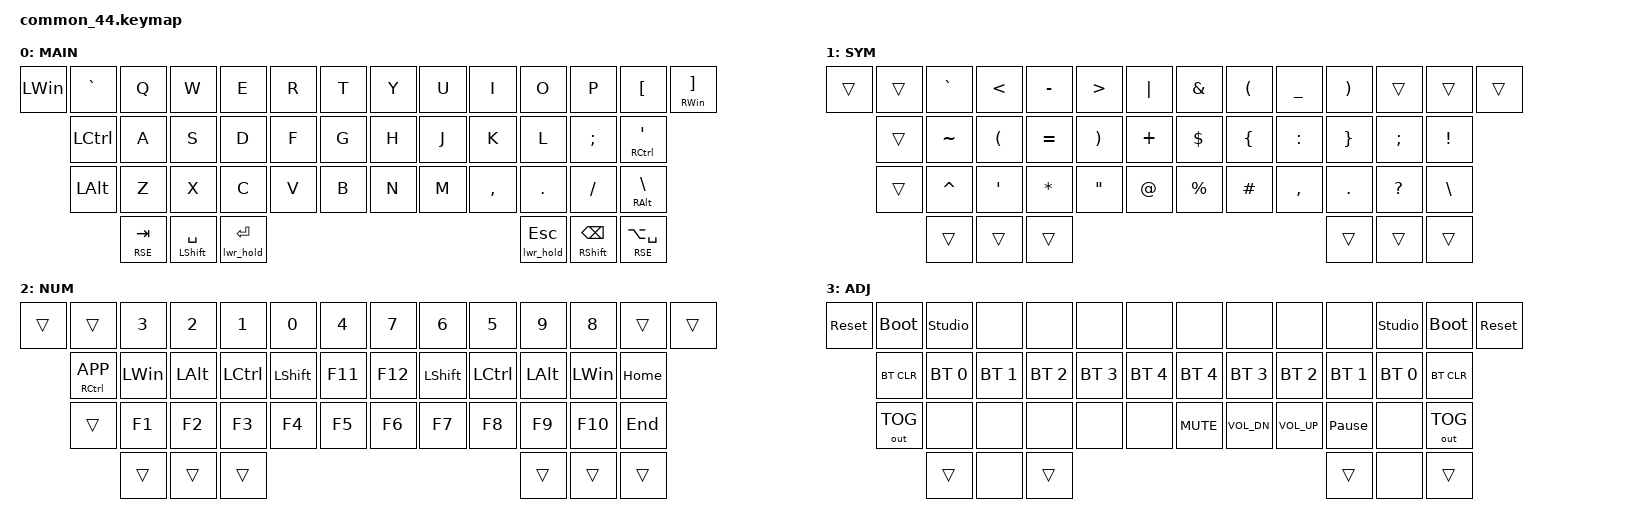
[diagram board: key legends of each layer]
/*
 * Copyright (c) 2020 The ZMK Contributors
 *
 * SPDX-License-Identifier: MIT
 */

#include <behaviors.dtsi>
#include <dt-bindings/zmk/keys.h>
#include <dt-bindings/zmk/bt.h>
#include <dt-bindings/zmk/outputs.h>

#define DEF 0
#define LWR 1
#define RSE 2
#define ADJ 3

&lt { quick-tap-ms = <200>; };
&mt { quick-tap-ms = <200>; };

/ {
    macros {
        lwr_hold: lwr_hold {
            compatible = "zmk,behavior-macro-one-param";
            #binding-cells = <1>;
            wait-ms = <0>;
            tap-ms = <0>;
            bindings =
                <&macro_press &kp F24>,
                <&macro_wait_time 20>,
                <&macro_press &mo LWR>,
                <&macro_pause_for_release>,
                <&macro_release &mo LWR &kp F24>;
        };
    };

    behaviors {
        lt_lwr: lt_lwr {
            compatible = "zmk,behavior-hold-tap";
            #binding-cells = <2>;
            flavor = "hold-preferred";
            tapping-term-ms = <200>;
            quick-tap-ms = <200>;
            bindings = <&lwr_hold>, <&kp>;
        };
    };

    conditional_layers {
        compatible = "zmk,conditional-layers";
        tri_layer {
            if-layers = <LWR RSE>;
            then-layer = <ADJ>;
        };
    };

        keymap {
                compatible = "zmk,keymap";

                default_layer {
                        display-name = "MAIN";
// -----------------------------------------------------------------------------------------
// |  GUI |   ~  |  Q  |  W  |  E  |  R  |  T  |   |  Y  |  U   |  I  |  O  |  P  |  [   | GUI/] |
//        | CTRL |  A  |  S  |  D  |  F  |  G  |   |  H  |  J   |  K  |  L  |  ;  |CTRL/'|
//        | LALT |  Z  |  X  |  C  |  V  |  B  |   |  N  |  M   |  ,  |  .  |  /  |RALT/\|
//                           | RSE | SPC | LWR |   | LWR | BSPC | RSE |
                        bindings = <
   &kp LWIN &kp GRAVE &kp Q &kp W &kp E &kp R &kp T &kp Y         &kp U  &kp I     &kp O   &kp P    &kp LBKT &mt RWIN RBKT
            &kp LCTRL &kp A &kp S &kp D &kp F &kp G &kp H         &kp J  &kp K     &kp L   &kp SEMI &mt RCTRL SQT
            &kp LALT  &kp Z &kp X &kp C &kp V &kp B &kp N         &kp M  &kp COMMA &kp DOT &kp FSLH &mt RALT BSLH
                  &lt RSE TAB &mt LSHFT SPACE &lt_lwr 0 RET         &lt_lwr 0 ESC &mt RSHFT BSPC &lt RSE LA(SPACE)
                        >;
                };
                lower_layer {
                        display-name = "SYM";
// -----------------------------------------------------------------------------------------
// |     |      |  `  |  <  |  -  |  >  | "|" |   |  &  |  (  |  _  |  )  |     |     |     |
//       |      |  ~  |  (  |  =  |  )  |  +  |   |  $  |  {  |  :  |  }  |  ;  |  !  |
//       |      |  ^  |  '  |  *  |  "  |  @  |   |  %  |  #  |  ,  |  .  |  ?  |  \  |
//                         | ADJ  |     |     |   |     |     | ADJ |
                        bindings = <
   &trans  &trans  &kp GRAVE  &kp LT    &kp MINUS  &kp GT    &kp PIPE                   &kp AMPS   &kp LPAR   &kp UNDER  &kp RPAR  &trans    &trans  &trans
           &trans  &kp TILDE  &kp LPAR  &kp EQUAL  &kp RPAR  &kp PLUS                   &kp DLLR   &kp LBRC   &kp COLON  &kp RBRC  &kp SEMI  &kp EXCL
           &trans  &kp CARET  &kp SQT   &kp STAR   &kp DQT   &kp AT                     &kp PRCNT  &kp HASH   &kp COMMA  &kp DOT   &kp QMARK &kp BSLH
                                                   &trans &trans &trans          &trans &trans &trans
                        >;
                };

                raise_layer {
                        display-name = "NUM";
// -----------------------------------------------------------------------------------------
// |     |      |  3  |  2  |  1  |  0  |  4  |   |  7  |  6  |  5  |  9  |  8  |     |     |
//       | APP  | GUI | ALT |CTRL |SHIFT| F11 |   | F12 |SHIFT| CTRL| ALT | GUI | HOME|
//       |      |  F1 |  F2 |  F3 |  F4 |  F5 |   | F6  | F7  | F8  | F9  | F10 | END |
//                          |     |     | ADJ |   | ADJ |     |     |
                        bindings = <
      &trans &trans            &kp N3    &kp N2    &kp N1     &kp N0      &kp N4            &kp N7   &kp N6      &kp N5     &kp N9    &kp N8    &trans    &trans
             &mt RCTRL K_APP   &kp LWIN  &kp LALT  &kp LCTRL  &kp LSHIFT  &kp F11           &kp F12  &kp LSHIFT  &kp LCTRL  &kp LALT  &kp LWIN  &kp HOME
             &trans            &kp F1    &kp F2    &kp F3     &kp F4      &kp F5            &kp F6   &kp F7      &kp F8     &kp F9    &kp F10   &kp END
                                                                &trans &trans &trans      &trans &trans &trans
                        >;
                };
                adjust_layer {
                        display-name = "ADJ";
// -----------------------------------------------------------------------------------------
// | RST | BLDR | STU |     |     |     |     |   |     |     |     |     | STU | BLDR | RST |
//       | BTCLR| BT0 | BT1 | BT2 | BT3 | BT4 |   | BT4 | BT3 | BT2 | BT1 | BT0 | BTCLR|
//       | OUT  |     |     |     |     |     |   | MUT |VOLD |VOLU |PAUSE|     | OUT  |
//                          |     |     |     |   |     |     |     |
                        bindings = <
   &sys_reset &bootloader  &studio_unlock &none        &none        &none        &none              &none        &none        &none        &none           &studio_unlock &bootloader &sys_reset
              &bt BT_CLR   &bt BT_SEL 0   &bt BT_SEL 1 &bt BT_SEL 2 &bt BT_SEL 3 &bt BT_SEL 4       &bt BT_SEL 4 &bt BT_SEL 3 &bt BT_SEL 2 &bt BT_SEL 1    &bt BT_SEL 0   &bt BT_CLR
              &out OUT_TOG &none          &none        &none        &none        &none              &kp C_MUTE   &kp C_VOL_DN &kp C_VOL_UP &kp PAUSE_BREAK &none          &out OUT_TOG
                                                                          &trans &none &trans       &trans &none &trans
                        >;
                };
        };
};
